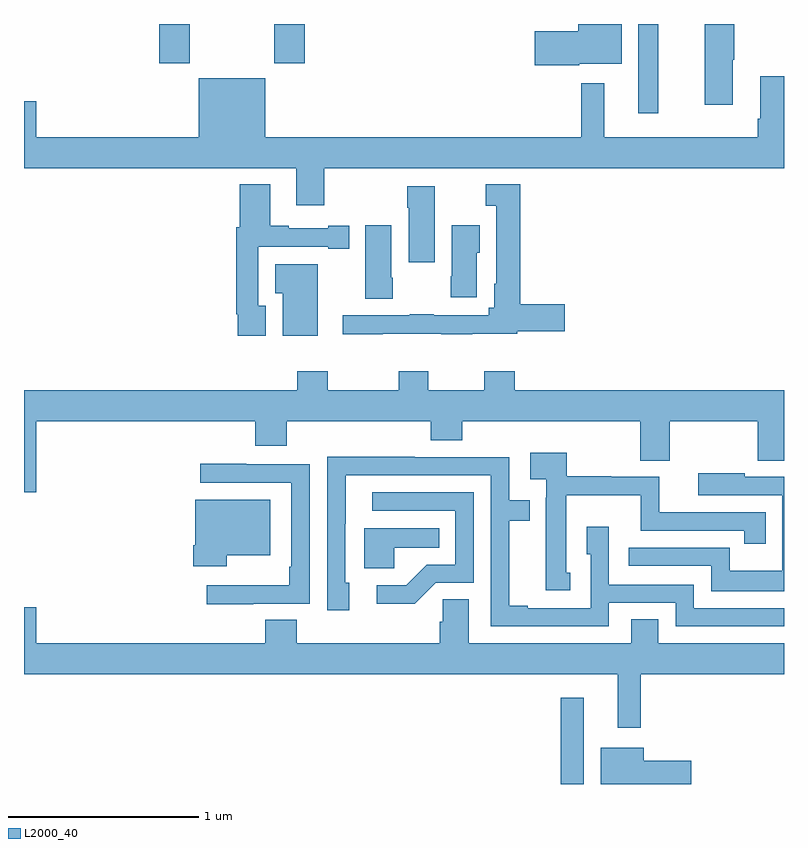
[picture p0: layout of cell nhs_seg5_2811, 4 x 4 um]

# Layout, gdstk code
import gdstk
lib = gdstk.Library(unit=1e-6, precision=1e-09)
def R(c, l, rs):  # rectangles x0, y0, x1, y1
    for r in rs: c.add(gdstk.rectangle(r[:2], r[2:], *l))
def P(c, l, *ps):  # polygons
    for p in ps: c.add(gdstk.Polygon(p, *l))
L2000_40 = (2000, 40)

nhs_seg5_2811 = lib.new_cell('nhs_seg5_2811')
R(nhs_seg5_2811, L2000_40, [(275.826,906.799,275.947,907.252), (276.233,910.329,276.337,910.799), (273.713,910.593,273.873,910.799), (274.318,910.593,274.478,910.799)])
P(nhs_seg5_2811, L2000_40, [(276.73,910.612),(276.738,910.612),(276.738,910.799),(276.584,910.799),(276.584,910.374),(276.73,910.374)],
  [(275.922,910.589),(276.145,910.589),(276.145,910.799),(275.918,910.799),(275.918,910.76),(275.688,910.76),(275.688,910.582),(275.922,910.582)],
  [(274.581,910.04),(277,910.04),(277,910.525),(276.875,910.525),(276.875,910.3),(276.863,910.3),(276.863,910.204),(276.055,910.204),(276.055,910.486),(275.934,910.486),(275.934,910.204),(274.27,910.204),(274.27,910.513),(273.92,910.513),(273.92,910.204),(273.064,910.204),(273.064,910.393),(273,910.393),(273,910.04),(274.433,910.04),(274.433,909.846),(274.581,909.846)],
  [(274.889,909.17),(275.195,909.17),(275.195,909.166),(275.36,909.166),(275.36,909.17),(275.595,909.17),(275.595,909.181),(275.845,909.181),(275.845,909.323),(275.612,909.323),(275.612,909.955),(275.43,909.955),(275.43,909.842),(275.486,909.842),(275.486,909.432),(275.474,909.432),(275.474,909.306),(275.445,909.306),(275.445,909.267),(275.156,909.267),(275.156,909.272),(275.029,909.272),(275.029,909.267),(274.677,909.267),(274.677,909.166),(274.889,909.166)],
  [(274.273,909.315),(274.233,909.315),(274.233,909.627),(274.601,909.627),(274.601,909.615),(274.711,909.615),(274.711,909.736),(274.601,909.736),(274.601,909.723),(274.393,909.723),(274.393,909.736),(274.297,909.736),(274.297,909.955),(274.136,909.955),(274.136,909.73),(274.117,909.73),(274.117,909.271),(274.125,909.271),(274.125,909.159),(274.273,909.159)],
  [(275.161,909.946),(275.017,909.946),(275.017,909.833),(275.024,909.833),(275.024,909.546),(275.161,909.546)],
  [(275.384,909.594),(275.398,909.594),(275.398,909.739),(275.252,909.739),(275.252,909.472),(275.245,909.472),(275.245,909.36),(275.384,909.36)],
  [(274.941,909.463),(274.933,909.463),(274.933,909.739),(274.796,909.739),(274.796,909.352),(274.941,909.352)],
  [(274.546,909.535),(274.322,909.535),(274.322,909.383),(274.361,909.383),(274.361,909.158),(274.546,909.158)],
  [(273.064,908.708),(274.217,908.708),(274.217,908.58),(274.382,908.58),(274.382,908.708),(275.141,908.708),(275.141,908.609),(275.306,908.609),(275.306,908.708),(276.244,908.708),(276.244,908.5),(276.399,908.5),(276.399,908.708),(276.862,908.708),(276.862,908.5),(277,908.5),(277,908.872),(275.582,908.872),(275.582,908.971),(275.422,908.971),(275.422,908.872),(275.127,908.872),(275.127,908.971),(274.972,908.971),(274.972,908.872),(274.599,908.872),(274.599,908.971),(274.439,908.971),(274.439,908.872),(273,908.872),(273,908.334),(273.064,908.334)],
  [(275.875,907.911),(275.854,907.911),(275.854,908.318),(276.245,908.318),(276.245,908.133),(276.792,908.133),(276.792,908.064),(276.905,908.064),(276.905,908.229),(276.344,908.229),(276.344,908.415),(276.09,908.415),(276.09,908.42),(275.857,908.42),(275.857,908.542),(275.664,908.542),(275.664,908.402),(275.748,908.402),(275.748,908.306),(275.747,908.306),(275.747,907.818),(275.875,907.818)],
  [(276.078,907.752),(276.429,907.752),(276.429,907.629),(277,907.629),(277,907.725),(276.525,907.725),(276.525,907.848),(276.078,907.848),(276.078,908.152),(275.963,908.152),(275.963,908.007),(275.982,908.007),(275.982,907.725),(275.65,907.725),(275.65,907.738),(275.555,907.738),(275.555,908.184),(275.662,908.184),(275.662,908.292),(275.553,908.292),(275.553,908.52),(275.057,908.52),(275.057,908.522),(274.596,908.522),(274.596,907.713),(274.711,907.713),(274.711,907.857),(274.692,907.857),(274.692,908.17),(274.693,908.17),(274.693,908.424),(275.457,908.424),(275.457,907.629),(276.078,907.629)],
  [(274.207,907.749),(274.503,907.749),(274.503,908.481),(274.171,908.481),(274.171,908.485),(273.927,908.485),(273.927,908.385),(274.407,908.385),(274.407,907.942),(274.395,907.942),(274.395,907.846),(273.963,907.846),(273.963,907.745),(274.207,907.745)],
  [(277,908.415),(276.793,908.415),(276.793,908.434),(276.549,908.434),(276.549,908.319),(276.99,908.319),(276.99,907.921),(276.714,907.921),(276.714,908.042),(276.611,908.042),(276.611,908.043),(276.183,908.043),(276.183,907.947),(276.618,907.947),(276.618,907.814),(277,907.814)],
  [(275.166,907.857),(275.367,907.857),(275.367,908.334),(274.833,908.334),(274.833,908.238),(275.271,908.238),(275.271,907.953),(275.12,907.953),(275.012,907.845),(274.857,907.845),(274.857,907.748),(275.056,907.748)],
  [(274.068,908.003),(274.297,908.003),(274.297,908.296),(273.902,908.296),(273.902,908.056),(273.89,908.056),(273.89,907.944),(274.068,907.944)],
  [(274.948,908.042),(275.186,908.042),(275.186,908.146),(274.79,908.146),(274.79,907.934),(274.948,907.934)],
  [(276.247,907.376),(277,907.376),(277,907.54),(276.337,907.54),(276.337,907.667),(276.197,907.667),(276.197,907.54),(275.341,907.54),(275.341,907.772),(275.203,907.772),(275.203,907.652),(275.189,907.652),(275.189,907.54),(274.436,907.54),(274.436,907.664),(274.271,907.664),(274.271,907.54),(273.064,907.54),(273.064,907.729),(273,907.729),(273,907.376),(276.125,907.376),(276.125,907.095),(276.247,907.095)],
  [(276.511,906.921),(276.262,906.921),(276.262,906.991),(276.035,906.991),(276.035,906.799),(276.511,906.799)])

lib.write_gds('nhs_seg5_2811.gds')
